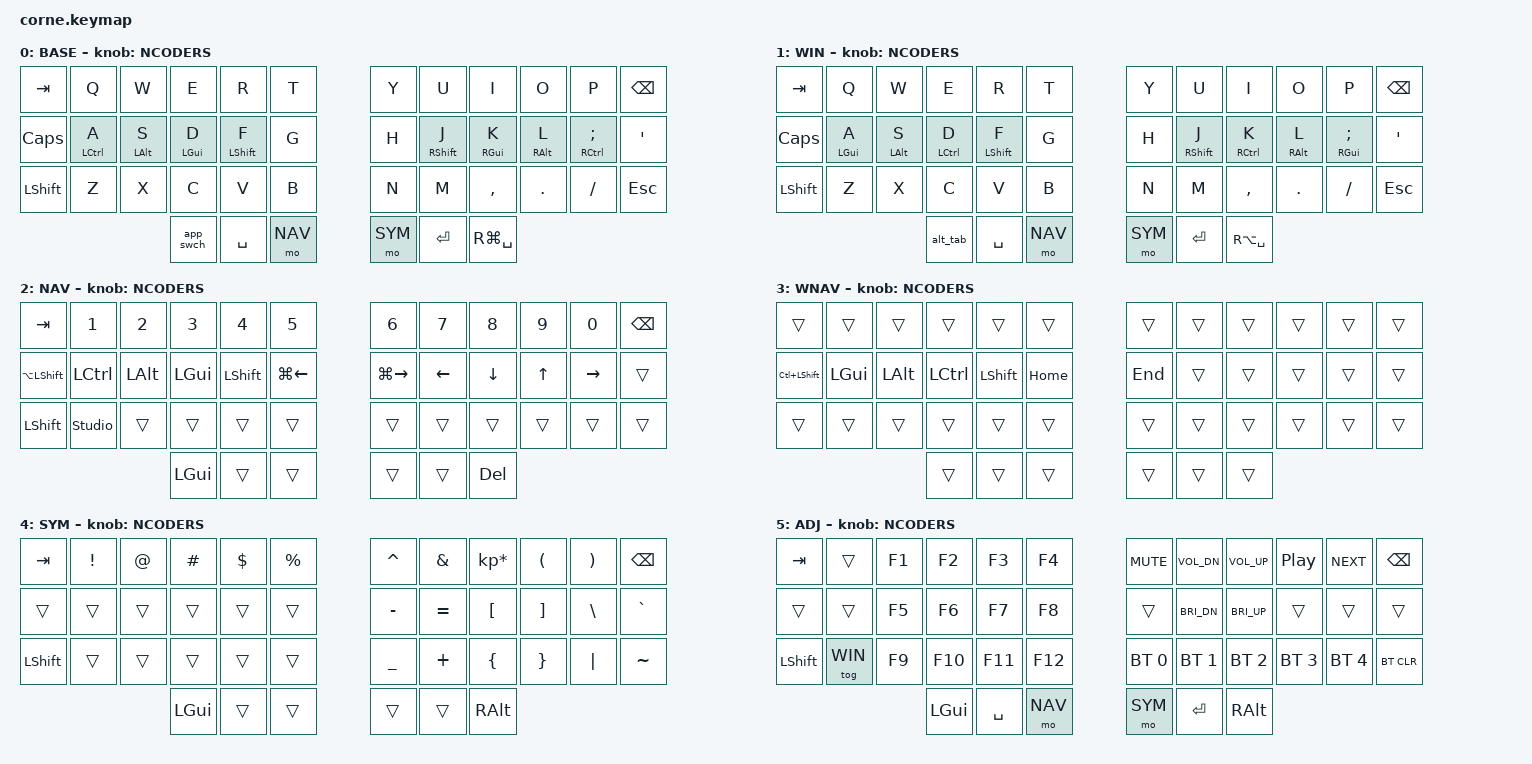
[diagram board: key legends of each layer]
/*
 * Copyright (c) 2020 The ZMK Contributors
 *
 * SPDX-License-Identifier: MIT
 *
 * Layout and behaviours ported from Toucan (config/toucan.keymap), minus the trackpad MOUSE layer.
 */

#include <behaviors.dtsi>
#include <dt-bindings/zmk/keys.h>
#include <dt-bindings/zmk/bt.h>
#include <dt-bindings/zmk/outputs.h>

// Layer order matters: higher index wins. WIN/WNAV must sit below NAV/SYM/ADJ.
#define BASE  0
#define WIN   1
#define NAV   2
#define WNAV  3
#define SYM   4
#define ADJ   5

// Key positions for chordal hold
#define KEYS_L 0 1 2 3 4 5 12 13 14 15 16 17 24 25 26 27 28 29
#define KEYS_R 6 7 8 9 10 11 18 19 20 21 22 23 30 31 32 33 34 35
#define THUMBS 36 37 38 39 40 41

// Encoder bindings (Corne hardware only; same on every layer)
#define ENCODERS &inc_dec_kp C_VOL_UP C_VOL_DN &inc_dec_kp PG_UP PG_DN

/ {
        sensors {
                compatible = "zmk,keymap-sensors";
                sensors = <&left_encoder &right_encoder>;
                triggers-per-rotation = <20>;
        };
};

&led_strip {
        chain-length = <27>;
};

&nice_view_spi {
        cs-gpios = <&pro_micro 8 GPIO_ACTIVE_HIGH>;
};

/ {
    conditional_layers {
        compatible = "zmk,conditional-layers";
        tri_layer {
            if-layers = <NAV SYM>;
            then-layer = <ADJ>;
        };
        win_nav {
            if-layers = <WIN NAV>;
            then-layer = <WNAV>;
        };
    };

    behaviors {
        hml: home_row_mod_left {
            compatible = "zmk,behavior-hold-tap";
            #binding-cells = <2>;
            flavor = "balanced";
            tapping-term-ms = <280>;
            quick-tap-ms = <175>;
            require-prior-idle-ms = <150>;
            bindings = <&kp>, <&kp>;
            hold-trigger-key-positions = <KEYS_R THUMBS>;
            hold-trigger-on-release;
        };

        hmr: home_row_mod_right {
            compatible = "zmk,behavior-hold-tap";
            #binding-cells = <2>;
            flavor = "balanced";
            tapping-term-ms = <280>;
            quick-tap-ms = <175>;
            require-prior-idle-ms = <150>;
            bindings = <&kp>, <&kp>;
            hold-trigger-key-positions = <KEYS_L THUMBS>;
            hold-trigger-on-release;
        };
    };

    macros {
        // macOS app switcher: hold Cmd, tap Tab, keep Cmd held until key release
        app_swch: app_switch {
            compatible = "zmk,behavior-macro";
            #binding-cells = <0>;
            wait-ms = <10>;
            tap-ms = <10>;
            bindings
                = <&macro_press &kp LGUI>
                , <&macro_tap &kp TAB>
                , <&macro_pause_for_release>
                , <&macro_release &kp LGUI>
                ;
        };

        // Windows app switcher: hold Alt, tap Tab, keep Alt held until key release
        alt_tab: alt_tab {
            compatible = "zmk,behavior-macro";
            #binding-cells = <0>;
            wait-ms = <10>;
            tap-ms = <10>;
            bindings
                = <&macro_press &kp LALT>
                , <&macro_tap &kp TAB>
                , <&macro_pause_for_release>
                , <&macro_release &kp LALT>
                ;
        };
    };

    keymap {
        compatible = "zmk,keymap";

        // macOS base. Home row mods CAGS.
        base {
            display-name = "BASE";
            bindings = <
                &kp TAB   &kp Q &kp W &kp E &kp R &kp T   &kp Y &kp U  &kp I     &kp O   &kp P    &kp BSPC
                &kp CAPS  &hml LCTRL A &hml LALT S &hml LGUI D &hml LSHFT F &kp G   &kp H &hmr RSHFT J &hmr RGUI K &hmr RALT L &hmr RCTRL SEMI &kp SQT
                &kp LSHFT &kp Z &kp X &kp C &kp V &kp B   &kp N &kp M  &kp COMMA &kp DOT &kp FSLH &kp ESC
                                &app_swch &kp SPACE &mo NAV   &mo SYM &kp RET   &kp RG(SPACE)
            >;
            sensor-bindings = <ENCODERS>;
        };

        // Windows base: latched on/off with ADJ + Z position. Home row mods GACS.
        win {
            display-name = "WIN";
            bindings = <
                &kp TAB   &kp Q &kp W &kp E &kp R &kp T   &kp Y &kp U  &kp I     &kp O   &kp P    &kp BSPC
                &kp CAPS  &hml LGUI A &hml LALT S &hml LCTRL D &hml LSHFT F &kp G   &kp H &hmr RSHFT J &hmr RCTRL K &hmr RALT L &hmr RGUI SEMI &kp SQT
                &kp LSHFT &kp Z &kp X &kp C &kp V &kp B   &kp N &kp M  &kp COMMA &kp DOT &kp FSLH &kp ESC
                                &alt_tab &kp SPACE &mo NAV   &mo SYM &kp RET   &kp RA(SPACE)
            >;
            sensor-bindings = <ENCODERS>;
        };

        nav {
            display-name = "NAV";
            bindings = <
                &kp TAB       &kp N1          &kp N2   &kp N3   &kp N4    &kp N5         &kp N6        &kp N7   &kp N8   &kp N9 &kp N0    &kp BSPC
                &kp LA(LSHFT) &kp LCTRL       &kp LALT &kp LGUI &kp LSHFT &kp LG(LEFT)   &kp LG(RIGHT) &kp LEFT &kp DOWN &kp UP &kp RIGHT &trans
                &kp LSHFT     &studio_unlock  &trans   &trans   &trans    &trans         &trans        &trans   &trans   &trans &trans    &trans
                                                       &kp LGUI &trans    &trans         &trans        &trans   &kp DEL
            >;
            sensor-bindings = <ENCODERS>;
        };

        // Windows nav overrides: active automatically when WIN + NAV (conditional layer). GACS mods.
        wnav {
            display-name = "WNAV";
            bindings = <
                &trans        &trans   &trans   &trans    &trans    &trans     &trans  &trans &trans &trans &trans &trans
                &kp LC(LSHFT) &kp LGUI &kp LALT &kp LCTRL &kp LSHFT &kp HOME   &kp END &trans &trans &trans &trans &trans
                &trans        &trans   &trans   &trans    &trans    &trans     &trans  &trans &trans &trans &trans &trans
                                                &trans    &trans    &trans     &trans  &trans &trans
            >;
            sensor-bindings = <ENCODERS>;
        };

        sym {
            display-name = "SYM";
            bindings = <
                &kp TAB   &kp EXCL &kp AT &kp HASH &kp DLLR &kp PRCNT   &kp CARET &kp AMPS  &kp KP_MULTIPLY &kp LPAR &kp RPAR &kp BSPC
                &trans    &trans   &trans &trans   &trans   &trans      &kp MINUS &kp EQUAL &kp LBKT        &kp RBKT &kp BSLH &kp GRAVE
                &kp LSHFT &trans   &trans &trans   &trans   &trans      &kp UNDER &kp PLUS  &kp LBRC        &kp RBRC &kp PIPE &kp TILDE
                                          &kp LGUI &trans   &trans      &trans    &trans    &kp RALT
            >;
            sensor-bindings = <ENCODERS>;
        };

        adj {
            display-name = "ADJ";
            bindings = <
                &kp TAB   &trans   &kp F1 &kp F2  &kp F3  &kp F4     &kp C_MUTE   &kp C_VOL_DN &kp C_VOL_UP &kp C_PP     &kp C_NEXT   &kp BSPC
                &trans    &trans   &kp F5 &kp F6  &kp F7  &kp F8     &trans       &kp C_BRI_DN &kp C_BRI_UP &trans       &trans       &trans
                &kp LSHFT &tog WIN &kp F9 &kp F10 &kp F11 &kp F12    &bt BT_SEL 0 &bt BT_SEL 1 &bt BT_SEL 2 &bt BT_SEL 3 &bt BT_SEL 4 &bt BT_CLR
                                          &kp LGUI &kp SPACE &mo NAV   &mo SYM   &kp RET &kp RALT
            >;
            sensor-bindings = <ENCODERS>;
        };

        // Spare layers for ZMK Studio
        extra_1 {
                status = "reserved";
        };

        extra_2 {
                status = "reserved";
        };
    };
};
